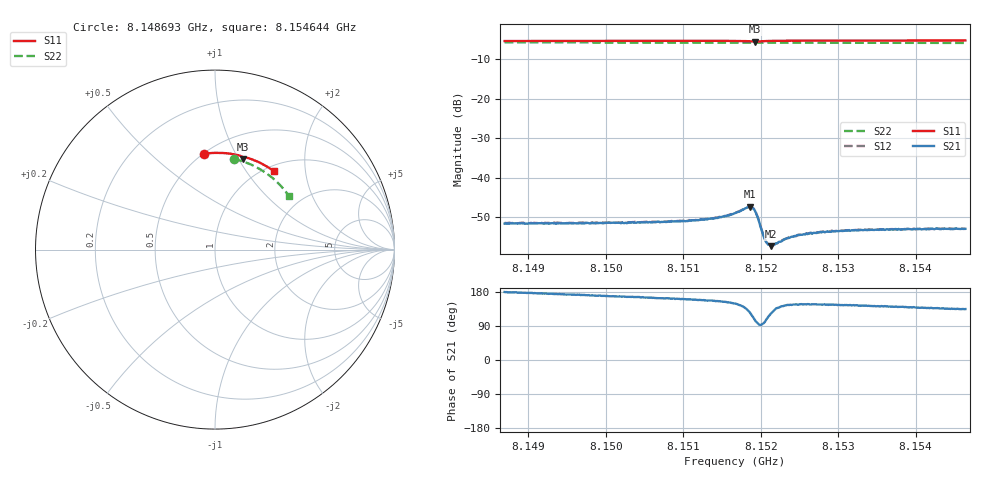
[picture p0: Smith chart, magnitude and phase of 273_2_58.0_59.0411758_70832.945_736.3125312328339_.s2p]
#  HZ  S  RI  R  50.00
! Rohde & Schwarz Vector Network Analyzer
! Rohde-Schwarz,ZNB20-2Port,1311601062101988,3.16
! Created: UTC 3/21/2024, 1:02:27 AM
! freq[Hz]  re:S11  im:S11  re:S21  im:S21  re:S12  im:S12  re:S22  im:S22
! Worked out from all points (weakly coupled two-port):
!   401 points, 8.148693 GHz to 8.154644 GHz, reference 50 ohm
!   highest |S21| = -47.39 dB at 8.151862 GHz (marker M1); lowest = -57.4 dB at 8.15213 GHz (marker M2)
!   lowest |S11| = -5.5 dB at 8.151921 GHz (marker M3), VSWR 3.25, Z = 37.3 + j52.3 ohm
!   |S11| at or under -10 dB: nowhere
!   |S22| runs from -5.9 to -5.7 dB; largest |S21 - S12| = 0.00011
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8.1486928e9  -0.0617 0.5338  -0.00262 2.52e-05  -0.00266 0.000105  0.1035 0.5055
8.1496896e9  0.00783 0.5393  -0.0026 0.000371  -0.00266 0.00045  0.1661 0.4876
8.1506865e9  0.0774 0.5352  -0.00264 0.000799  -0.00263 0.000834  0.2253 0.462
8.1512816e9  0.119 0.5281  -0.00272 0.00114  -0.00275 0.00118  0.2589 0.4432
8.1515346e9  0.1374 0.5235  -0.00289 0.00144  -0.00291 0.00151  0.2726 0.4344
8.1516685e9  0.1474 0.5199  -0.00303 0.00184  -0.00301 0.0019  0.2797 0.4296
8.1518172e9  0.1579 0.5121  -0.0029 0.00295  -0.00286 0.00304  0.2875 0.424
8.1518619e9  0.1592 0.5083  -0.00244 0.0035  -0.00239 0.00356  0.2899 0.4222
8.1518916e9  0.1588 0.506  -0.00184 0.00373  -0.00179 0.00378  0.2912 0.421
8.1519214e9  0.1573 0.505  -0.00112 0.00372  -0.0011 0.00374  0.2927 0.42
8.1519511e9  0.156 0.5058  -0.000517 0.0033  -0.000463 0.00332  0.2941 0.4189
8.1520255e9  0.1581 0.5106  -0.000183 0.00194  -0.000127 0.00197  0.2979 0.4164
8.1520553e9  0.1603 0.5118  -0.000313 0.00161  -0.000304 0.00163  0.2996 0.4154
8.1520999e9  0.1642 0.5127  -0.000588 0.00128  -0.000576 0.0013  0.3018 0.4137
8.1521297e9  0.1669 0.5129  -0.000713 0.00115  -0.000699 0.00119  0.3034 0.4125
8.1521743e9  0.1708 0.5127  -0.000928 0.00105  -0.000911 0.00107  0.3057 0.4107
8.1523231e9  0.1824 0.5106  -0.00136 0.000993  -0.00136 0.000993  0.3132 0.4049
8.1523975e9  0.1878 0.509  -0.00147 0.00102  -0.00148 0.00101  0.3169 0.4018
8.1526653e9  0.2063 0.5027  -0.00164 0.00106  -0.00164 0.00109  0.3301 0.3907
8.1530819e9  0.2337 0.4916  -0.00175 0.00122  -0.00175 0.00124  0.3495 0.3726
8.1536622e9  0.2699 0.4737  -0.00171 0.00137  -0.0017 0.00141  0.375 0.3457
8.1546441e9  0.3275 0.4376  -0.00157 0.0016  -0.00153 0.00163  0.4131 0.2968
